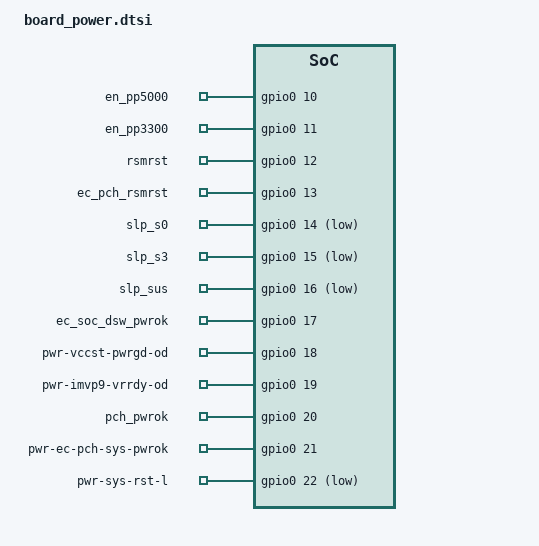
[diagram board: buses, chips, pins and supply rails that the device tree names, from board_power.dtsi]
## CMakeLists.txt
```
# Copyright 2022 The ChromiumOS Authors
# Use of this source code is governed by a BSD-style license that can be
# found in the LICENSE file.

cmake_minimum_required(VERSION 3.13.1)
find_package(Zephyr REQUIRED HINTS "${ZEPHYR_BASE}")
project(rex)

zephyr_include_directories("${PLATFORM_EC_PROGRAM_DIR}/rex/include")
zephyr_include_directories("${PLATFORM_EC_PROGRAM_DIR}/rex/rex/include")
zephyr_include_directories("${PLATFORM_EC_PROGRAM_DIR}/rex/screebo/include")

add_subdirectory(${PLATFORM_EC}/zephyr/test/test_utils test_utils)

target_sources_ifdef(CONFIG_TEST_USB_PD_POLICY app PRIVATE src/usb_pd_policy.c)
target_sources_ifdef(CONFIG_TEST_USB_PD_POLICY app PRIVATE ${PLATFORM_EC_PROGRAM_DIR}/rex/src/usb_pd_policy.c)

target_sources_ifdef(CONFIG_TEST_BOARD_POWER app PRIVATE src/board_power.c)
target_sources_ifdef(CONFIG_TEST_BOARD_POWER app PRIVATE ${PLATFORM_EC_PROGRAM_DIR}/rex/src/board_power.c)

target_sources_ifdef(CONFIG_TEST_BOARD_USB_MUX_CONFIG app PRIVATE src/usb_mux_config.c)
target_sources_ifdef(CONFIG_TEST_BOARD_USB_MUX_CONFIG app PRIVATE ${PLATFORM_EC_PROGRAM_DIR}/rex/rex/src/usb_mux_config.c)

target_sources_ifdef(CONFIG_TEST_SCREEBO_USB_CONFIG app PRIVATE src/screebo_usb_config.c)
#target_sources_ifdef(CONFIG_TEST_SCREEBO_USB_CONFIG app PRIVATE ${PLATFORM_EC_PROGRAM_DIR}/rex/screebo/src/usb_config.c)
```

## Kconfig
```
# Copyright 2022 The ChromiumOS Authors
# Use of this source code is governed by a BSD-style license that can be
# found in the LICENSE file.

choice TEST_PROJECT_TYPE
	prompt "Select board variant for tests"
	help
	  Board variant to use for tests

	config TEST_PROJECT_REX
		bool "Enable rex-specific tests"
		help
		Enable tests for rex variant.

	config TEST_PROJECT_SCREEBO
		bool "Enable screebo-specific tests"
		help
		Enable tests for screebo variant.

	config TEST_PROJECT_KANIX
		bool "Enable kanix-specific tests"
		help
		Enable tests for kanix variant.

	config TEST_PROJECT_KARIS
		bool "Enable karis-specific tests"
		help
		Enable tests for karis variant.

endchoice # TEST_PROJECT_TYPE

config TEST_PROJECT_NAME
	string "Board name"
	default "rex" if TEST_PROJECT_REX
	default "screebo" if TEST_PROJECT_SCREEBO

config TEST_PROJECT_USB_MUX_CONFIG
	bool "Run the tests intended for usb_mux_config"
	help
	  Include project specific usb_mux_config.c into the binary and
	  test their functions.

config TEST_PROJECT_USB_CONFIG
	bool "Run the tests intended for usb_config"
	help
	  Include project specific usb_config.c into the binary and test
	  their functions.

config TEST_PROJECT_KEYBOARD
	bool "Run the tests intended for keyboard.c"
	help
	  Include project specific keyboard.c into the binary and test
	  their functions.

config TEST_PROJECT_KEYBOARD_CUSTOMIZATION
	bool "Run the tests intended for keyboard_customization.c"
	help
	  Include project specific keyboard_customization.c into the
	  binary and test their functions.

config PLATFORM_EC_KEYBOARD_DEBUG
	  bool "Enable keyboard debug prints"
	  help
	    Enable keyboard debug prints to show up in early bringup, for example
	    if the board is currently headless and keyboard functionality is being
	    checked.

config TEST_PROJECT_BOARD
	bool "Run the tests intended for board.c"
	help
	  Include project specific board.c into the binary and test
	  their functions.

config TEST_PROJECT_CHARGER
	bool "Run the tests intended for charger.c"
	help
	  Include project specific charger.c into the binary and test
	  their functions.

config TEST_PROGRAM_USB_PD_POLICY
	bool "Run the tests intended for usb_pd_policy"
	help
	  Include usb_pd_policy.c into the binary and test their functions.

config TEST_PROGRAM_USBC_TBT_COMPAT
	bool "Run the tests intended for usbc_tbt_compat"
	help
	  Include usbc_tbt_compat.c into the binary and test its functions.

config TEST_ENABLE_USB_PD_DISCHARGE
	bool "Enable CONFIG_USB_PD_DISCHARGE"
	help
	  This is used to define CONFIG_USB_PD_DISCHARGE for testing purposes
	  directly.

config TEST_ENABLE_USB_PD_HOST_CMD
	bool "Enable CONFIG_USB_PD_HOST_CMD"
	help
	  This is used to define CONFIG_USB_PD_HOST_CMD for testing purposes
	  directly.

config TEST_DISABLE_INLINE_CHIPSET_IN_STATE
	bool "Disable chipset_in_state inline method"
	help
	  This is used to not define chipset_in_state method as inline
	  function.

config TEST_DISABLE_INLINE_CHIPSET_FUNCTIONS
	bool "Enable mocking of inline chipset functions"
	help
	  Many chipset functions are defined as static inline which
	  precludes mocking. This is achieved by converting static
	  inline function definitions in chipset.h to prototypes. Tests
	  will need to provide definitions for affected functions.

config TEST_PROGRAM_BATTERY_PRESENT
	bool "Tests battery presence detect"
	help
	  Include tests for board specific battery presence detection.
	  Really, that's all it does.

config TEST_PROGRAM_BOARD_POWER
	bool "Run the tests intended for board_power"
	help
	  Include board_power.c into the binary and test
	  their functions.

config TEST_X86_NON_DSX_PWRSEQ_MTL
	bool "Replace CONFIG_X86_NON_DSX_PWRSEQ_MTL for testing"
	help
	  This is used to replace CONFIG_X86_NON_DSX_PWRSEQ_MTL for testing
	  purposes directly.

config TEST_DISABLE_AP_PWRSEQ
	bool "Disable CONFIG_AP_PWRSEQ"
	default n
	help
	  This is used to disable CONFIG_AP_PWRSEQ for testing purposes
	  directly.

config TEST_PROGRAM_I2C_POLICY
	bool "Run the tests intended for i2c_policy"
	help
	  Include i2c_policy.c into the binary and test their functions.

config TEST_PROJECT_TOUCH_PANEL
	bool "Run the tests intended for touch_panel.c"
	help
	  Include touch_panel.c into the binary and test their functions.

config TEST_BOARD_FAN_CUSTOM
	bool "Run the tests intended for thermal.c"
	help
	  Include thermal.c into the binary and test their functions.

module = REX
module-str = Rex board-specific code
source "subsys/logging/Kconfig.template.log_config"

source "Kconfig.zephyr"
```

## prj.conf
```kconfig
# Copyright 2022 The ChromiumOS Authors
# Use of this source code is governed by a BSD-style license that can be
# found in the LICENSE file.

CONFIG_ZTEST=y
CONFIG_ZTEST_ASSERT_VERBOSE=1
CONFIG_ZTEST_NEW_API=y
CONFIG_ASSERT=y

# Match emul init priority
CONFIG_I2C_INIT_PRIORITY=1
CONFIG_GPIO_INIT_PRIORITY=1

CONFIG_CROS_EC=y
CONFIG_PLATFORM_EC=y

CONFIG_LOG=y
CONFIG_LOG_MODE_MINIMAL=y

CONFIG_AP_X86_INTEL_MTL=y
CONFIG_TEST_DISABLE_AP_PWRSEQ=y

CONFIG_EMUL_COMMON_I2C=y
```

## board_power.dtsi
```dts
/* Copyright 2022 The ChromiumOS Authors
 * Use of this source code is governed by a BSD-style license that can be
 * found in the LICENSE file.
 */

#include <dt-bindings/gpio_defines.h>
#include <cros/binman.dtsi>

/ {

named-gpios {
		compatible = "named-gpios";

		ec_bl_disable_l {
			gpios = <&gpio0 1 GPIO_INPUT>;
			enum-name = "GPIO_ENABLE_BACKLIGHT";
		};
		gpio_pch_pwrbtn_l: pch_pwrbtn_l {
			gpios = <&gpio0 2 GPIO_OUTPUT>;
			enum-name = "GPIO_PCH_PWRBTN_L";
		};
		gpio_ec_pwr_btn_odl: ec_pwr_btn_odl {
			/* GPIO_PULL_UP will cause this start asserted,
			 * i.e. not pressed.
			 */
			gpios = <&gpio0 1 (GPIO_INPUT | GPIO_PULL_UP)>;
			enum-name = "GPIO_POWER_BUTTON_L";
		};
		gpio_wp_l: wp_l {
			gpios = <&gpio0 3 (GPIO_INPUT | GPIO_ACTIVE_LOW)>;
		};
		entering-rw {
			gpios = <&gpio0 1 GPIO_OUTPUT_LOW>;
			enum-name = "GPIO_ENTERING_RW";
		};
	};
	en_pp5000: pwr-en-pp5000-s5 {
		compatible = "intel,ap-pwrseq-gpio";
		dbg-label = "PP5000_S5 enable output to regulator";
		enum-name = "PWR_EN_PP5000_A";
		gpios = <&gpio0 10 0>;
		output;
	};
	en_pp3300: pwr-en-pp3300-s5 {
		compatible = "intel,ap-pwrseq-gpio";
		dbg-label = "PP3300_S5 enable output to LS";
		enum-name = "PWR_EN_PP3300_A";
		gpios = <&gpio0 11 0>;
		output;
	};
	rsmrst: pwr-pg-ec-rsmrst-odl {
		compatible = "intel,ap-pwrseq-gpio";
		dbg-label = "RSMRST power good from regulator";
		enum-name = "PWR_RSMRST";
		gpios = <&gpio0 12 0>;
		interrupt-flags = <GPIO_INT_EDGE_BOTH>;
	};
	ec_pch_rsmrst: pwr-ec-pch-rsmrst-odl {
		compatible = "intel,ap-pwrseq-gpio";
		dbg-label = "RSMRST output to PCH";
		enum-name = "PWR_EC_PCH_RSMRST";
		gpios = <&gpio0 13 0>;
		output;
	};
	slp_s0: pwr-slp-s0-l {
		compatible = "intel,ap-pwrseq-gpio";
		dbg-label = "SLP_S0_L input from PCH";
		enum-name = "PWR_SLP_S0";
		gpios = <&gpio0 14 GPIO_ACTIVE_LOW>;
		interrupt-flags = <GPIO_INT_EDGE_BOTH>;
		no-enable;
	};
	slp_s3: pwr-slp-s3-l {
		compatible = "intel,ap-pwrseq-gpio";
		dbg-label = "SLP_S3_L input from PCH";
		enum-name = "PWR_SLP_S3";
		gpios = <&gpio0 15 GPIO_ACTIVE_LOW>;
		interrupt-flags = <GPIO_INT_EDGE_BOTH>;
	};
	slp_sus: pwr-slp-sus-l {
		compatible = "intel,ap-pwrseq-gpio";
		dbg-label = "SLP_SUS_L input from PCH";
		enum-name = "PWR_SLP_SUS";
		gpios = <&gpio0 16 GPIO_ACTIVE_LOW>;
		interrupt-flags = <GPIO_INT_EDGE_BOTH>;
	};
	ec_soc_dsw_pwrok: pwr-ec-soc-dsw-pwrok {
		compatible = "intel,ap-pwrseq-gpio";
		dbg-label = "DSW_PWROK output to PCH";
		enum-name = "PWR_EC_SOC_DSW_PWROK";
		gpios = <&gpio0 17 0>;
		output;
	};
	pwr-vccst-pwrgd-od {
		compatible = "intel,ap-pwrseq-gpio";
		dbg-label = "VCCST_PWRGD output to PCH";
		enum-name = "PWR_VCCST_PWRGD";
		gpios = <&gpio0 18 0>;
		output;
	};
	pwr-imvp9-vrrdy-od {
		compatible = "intel,ap-pwrseq-gpio";
		dbg-label = "VRRDY input from IMVP9";
		enum-name = "PWR_IMVP9_VRRDY";
		gpios = <&gpio0 19 0>;
	};
	pch_pwrok: pwr-pch-pwrok {
		compatible = "intel,ap-pwrseq-gpio";
		dbg-label = "PCH_PWROK output to PCH";
		enum-name = "PWR_PCH_PWROK";
		gpios = <&gpio0 20 0>;
		output;
	};
	pwr-ec-pch-sys-pwrok {
		compatible = "intel,ap-pwrseq-gpio";
		dbg-label = "SYS_PWROK output to PCH";
		enum-name = "PWR_EC_PCH_SYS_PWROK";
		gpios = <&gpio0 21 0>;
		output;
	};
	pwr-sys-rst-l {
		compatible = "intel,ap-pwrseq-gpio";
		dbg-label = "SYS_RESET# output to PCH";
		enum-name = "PWR_SYS_RST";
		gpios = <&gpio0 22 GPIO_ACTIVE_LOW>;
		output;
	};

};
```

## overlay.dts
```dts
/* Copyright 2021 The Chromium OS Authors. All rights reserved.
 * Use of this source code is governed by a BSD-style license that can be
 * found in the LICENSE file.
 */

#include <dt-bindings/gpio_defines.h>

/  {
	common-pwrseq {
		compatible = "intel,ap-pwrseq";
	};
};

/ {
	named-gpios {
		compatible = "named-gpios";

		entering-rw {
			gpios = <&gpio0 1 GPIO_OUTPUT_LOW>;
			enum-name = "GPIO_ENTERING_RW";
		};
	};
};
```

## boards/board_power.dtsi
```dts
/* Copyright 2022 The ChromiumOS Authors
 * Use of this source code is governed by a BSD-style license that can be
 * found in the LICENSE file.
 */

#include <dt-bindings/gpio_defines.h>

/ {
	common-pwrseq {
		compatible = "intel,ap-pwrseq";
	};
	named-gpios {
		compatible = "named-gpios";
		ec_bl_disable_l {
			gpios = <&gpio0 1 GPIO_INPUT>;
			enum-name = "GPIO_ENABLE_BACKLIGHT";
		};
		gpio_pch_pwrbtn_l: pch_pwrbtn_l {
			gpios = <&gpio0 2 GPIO_OUTPUT>;
			enum-name = "GPIO_PCH_PWRBTN_L";
		};
		gpio_ec_pwr_btn_odl: ec_pwr_btn_odl {
			/* GPIO_PULL_UP will cause this start asserted,
			 * i.e. not pressed.
			 */
			gpios = <&gpio0 3 (GPIO_INPUT | GPIO_PULL_UP)>;
			enum-name = "GPIO_POWER_BUTTON_L";
		};
		gpio_wp_l: wp_l {
			gpios = <&gpio0 4 (GPIO_INPUT | GPIO_ACTIVE_LOW)>;
		};
		entering-rw {
			gpios = <&gpio0 5 GPIO_OUTPUT_LOW>;
			enum-name = "GPIO_ENTERING_RW";
		};
	};
	en_pp5000: pwr-en-pp5000-s5 {
		compatible = "intel,ap-pwrseq-gpio";
		dbg-label = "PP5000_S5 enable output to regulator";
		enum-name = "PWR_EN_PP5000_A";
		gpios = <&gpio0 10 0>;
		output;
	};
	en_pp3300: pwr-en-pp3300-s5 {
		compatible = "intel,ap-pwrseq-gpio";
		dbg-label = "PP3300_S5 enable output to LS";
		enum-name = "PWR_EN_PP3300_A";
		gpios = <&gpio0 11 0>;
		output;
	};
	rsmrst: pwr-pg-ec-rsmrst-odl {
		compatible = "intel,ap-pwrseq-gpio";
		dbg-label = "RSMRST power good from regulator";
		enum-name = "PWR_RSMRST_PWRGD";
		gpios = <&gpio0 12 0>;
		interrupt-flags = <GPIO_INT_EDGE_BOTH>;
	};
	ec_pch_rsmrst: pwr-ec-pch-rsmrst-odl {
		compatible = "intel,ap-pwrseq-gpio";
		dbg-label = "RSMRST output to PCH";
		enum-name = "PWR_EC_PCH_RSMRST";
		gpios = <&gpio0 13 GPIO_ACTIVE_LOW>;
		output;
	};
	slp_s0: pwr-slp-s0-l {
		compatible = "intel,ap-pwrseq-gpio";
		dbg-label = "SLP_S0_L input from PCH";
		enum-name = "PWR_SLP_S0";
		gpios = <&gpio0 14 GPIO_ACTIVE_LOW>;
		interrupt-flags = <GPIO_INT_EDGE_BOTH>;
		no-enable;
	};
	slp_s3: pwr-slp-s3-l {
		compatible = "intel,ap-pwrseq-gpio";
		dbg-label = "SLP_S3_L input from PCH";
		enum-name = "PWR_SLP_S3";
		gpios = <&gpio0 15 GPIO_ACTIVE_LOW>;
		interrupt-flags = <GPIO_INT_EDGE_BOTH>;
	};
	slp_sus: pwr-slp-sus-l {
		compatible = "intel,ap-pwrseq-gpio";
		dbg-label = "SLP_SUS_L input from PCH";
		enum-name = "PWR_SLP_SUS";
		gpios = <&gpio0 16 GPIO_ACTIVE_LOW>;
		interrupt-flags = <GPIO_INT_EDGE_BOTH>;
	};
	pwr-vccst-pwrgd-od {
		compatible = "intel,ap-pwrseq-gpio";
		dbg-label = "VCCST_PWRGD output to PCH";
		enum-name = "PWR_VCCST_PWRGD";
		gpios = <&gpio0 18 0>;
		output;
	};
	pwr-imvp9-vrrdy-od {
		compatible = "intel,ap-pwrseq-gpio";
		dbg-label = "VRRDY input from IMVP9";
		enum-name = "PWR_IMVP9_VRRDY";
		gpios = <&gpio0 19 0>;
	};
	pch_pwrok: pwr-pch-pwrok {
		compatible = "intel,ap-pwrseq-gpio";
		dbg-label = "PCH_PWROK output to PCH";
		enum-name = "PWR_PCH_PWROK";
		gpios = <&gpio0 20 0>;
		output;
	};
	pwr-ec-pch-sys-pwrok {
		compatible = "intel,ap-pwrseq-gpio";
		dbg-label = "SYS_PWROK output to PCH";
		enum-name = "PWR_EC_PCH_SYS_PWROK";
		gpios = <&gpio0 21 0>;
		output;
	};
	pwr-sys-rst-l {
		compatible = "intel,ap-pwrseq-gpio";
		dbg-label = "SYS_RESET# output to PCH";
		enum-name = "PWR_SYS_RST";
		gpios = <&gpio0 22 GPIO_ACTIVE_LOW>;
		output;
	};
	pwr-all-sys-pwrgd {
		compatible = "intel,ap-pwrseq-gpio";
		dbg-label = "all power good";
		enum-name = "PWR_ALL_SYS_PWRGD";
		gpios = <&gpio0 23 (GPIO_ACTIVE_HIGH | GPIO_PULL_UP)>;
		interrupt-flags = <GPIO_INT_EDGE_BOTH>;
	};
};
```

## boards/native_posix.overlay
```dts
/* Copyright 2022 The ChromiumOS Authors
 * Use of this source code is governed by a BSD-style license that can be
 * found in the LICENSE file.
 */

#include <board-overlays/native_posix.dts>
#include <dt-bindings/gpio_defines.h>

/ {
	/* GPIOs shared by all boards */
	named-gpios {
		compatible = "named-gpios";

		gpio_usb_c1_rst_odl: usb_c1_rst_odl {
			gpios = <&gpio0 1 GPIO_ODR_LOW>;
		};
		gpio_usb_c1_rt_int_odl: usb_c1_rt_int_odl {
			gpios = <&gpio0 2 GPIO_INPUT_PULL_UP>;
		};
		gpio_usb_c1_rt_rst_r_odl: usb_c1_rt_rst_r_odl {
			gpios = <&gpio0 3 GPIO_ODR_HIGH>;
		};
		gpio_usb_c1_frs_en: usb_c1_frs_en {
			gpios = <&gpio0 4 GPIO_ODR_HIGH>;
		};
		gpio_en_z1_rails: en_z1_rails {
			gpios = <&gpio0 5 GPIO_OUTPUT>;
		};
		gpio_ec_batt_pres_odl: ec_batt_pres_odl {
			gpios = <&gpio0 6 GPIO_INPUT>;
			enum-name = "GPIO_BATT_PRES_ODL";
		};
	};

	/*
	 * This is a 2nd GPIO bank to be used by variants to
	 * avoid conflicts with program GPIO assignments.
	 */
	gpio1: gpio@101 {
		status = "okay";
		compatible = "zephyr,gpio-emul";
		reg = <0x101 0x4>;
		rising-edge;
		falling-edge;
		high-level;
		low-level;
		gpio-controller;
		#gpio-cells = <2>;
		ngpios = <32>;
	};
};
```

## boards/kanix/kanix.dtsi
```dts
/* Copyright 2024 The ChromiumOS Authors
 * Use of this source code is governed by a BSD-style license that can be
 * found in the LICENSE file.
 */

#include "../native_sim.overlay"
#include "../../../../program/rex/kanix/cbi.dtsi"

#include <board-overlays/native_sim.dts>
#include <cros/binman.dtsi>
#include <cros/thermistor/thermistor.dtsi>
#include <dt-bindings/gpio_defines.h>
#include <dt-bindings/pwm/pwm.h>
#include <dt-bindings/wake_mask_event_defines.h>
#include <freq.h>


/ {
	aliases {
		gpio-wp = &gpio_ec_wp_l;
	};

	named-gpios {
		gpio_ec_wp_l: ec_wp_l {
			gpios = <&gpio1 13 GPIO_OUTPUT>;
		};
	};

	fan_steps: fan-step {
		compatible = "cros-ec,fan-steps";
		level_0 {
			temp-on = <25>;
			temp-off = <99>;
			rpm-target = <0>;
		};
		level_1 {
			temp-on = <40>;
			temp-off = <35>;
			rpm-target = <2700>;
		};
		level_2 {
			temp-on = <43>;
			temp-off = <39>;
			rpm-target = <2925>;
		};
		level_3 {
			temp-on = <46>;
			temp-off = <42>;
			rpm-target = <3300>;
		};
		level_4 {
			temp-on = <49>;
			temp-off = <45>;
			rpm-target = <3585>;
		};
		level_5 {
			temp-on = <52>;
			temp-off = <48>;
			rpm-target = <3900>;
		};
		level_6 {
			temp-on = <55>;
			temp-off = <51>;
			rpm-target = <4255>;
		};
		level_7 {
			temp-on = <65>;
			temp-off = <60>;
			rpm-target = <4775>;
		};
	};

	chosen {
		cros-ec,keyboard = &fake_keyboard;
	};

	fake_keyboard: fake-device {
		compatible = "gpio-kbd-matrix";
		row-gpios = <&gpio0 0 0>;
		col-gpios = <&gpio0 0 0>;
		debounce-down-ms = <100>;

		scancode-set2 {
			compatible = "cros-ec,scancode-set2";
			col0-codes  = <0x0000 0x0000 0x0000 0xe01f 0x0000 0x0000 0x0000 0x0000>;
			col1-codes  = <0x0078 0x0076 0x000d 0x000e 0x001c 0x0016 0x001a 0x003c>;
			col2-codes  = <0x0005 0x000c 0x0004 0x0006 0x0023 0x0041 0x0026 0x0043>;
			col3-codes  = <0x0032 0x0034 0x002c 0x002e 0x002b 0x0049 0x0025 0x0044>;
			col4-codes  = <0x0009 0x0083 0x000b 0x001b 0x0003 0x004a 0x001e 0x004d>;
			col5-codes  = <0x0031 0x0007 0x005b 0x000f 0x0042 0x0021 0x003e 0x0015>;
			col6-codes  = <0x0051 0x0033 0x0035 0x004e 0x003b 0x0029 0x0045 0x001d>;
			col7-codes  = <0x0000 0x0000 0x0000 0x0000 0x0000 0x0012 0x0000 0x0059>;
			col8-codes  = <0x0055 0x0052 0x0054 0x0036 0x004c 0x0022 0x003d 0x0024>;
			col9-codes  = <0xe06c 0x0001 0xe071 0x002f 0x004b 0x002a 0x0046 0x002d>;
			col10-codes = <0xe011 0x0000 0x0000 0x0000 0x0000 0x0000 0x0000 0x0000>;
			col11-codes = <0x0017 0x0066 0x000a 0x005d 0x005a 0x003a 0xe072 0xe075>;
			col12-codes = <0x001f 0x0064 0xe07d 0x0067 0xe069 0xe07a 0xe074 0xe06b>;
			col13-codes = <0x0000 0x0000 0x0000 0x0000 0x0000 0x0000 0x0011 0x0000>;
			col14-codes = <0x0000 0x0014 0x0000 0xe014 0x0000 0x0000 0x0000 0x0000>;
			col15-codes = <0x0000 0x0000 0x0000 0x0000 0x0000 0x0000 0x0027 0x0000>;
			col16-codes = <0x0037 0x0000 0x0000 0x0000 0x0000 0x0000 0x0000 0x0000>;
			col17-codes = <0x0000 0x0000 0x006a 0x0000 0x0000 0x0000 0x005d 0x0061>;
		};
	};
};
```

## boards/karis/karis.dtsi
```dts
/* Copyright 2023 The ChromiumOS Authors
 * Use of this source code is governed by a BSD-style license that can be
 * found in the LICENSE file.
 */

#include "../native_posix.overlay"
#include "../../../../program/rex/karis/cbi.dtsi"

#include <dt-bindings/gpio_defines.h>

/ {
	/* Unused Stub */
	named-i2c-ports {
		compatible = "named-i2c-ports";

		named_i2c0: i2c0 {
			i2c-port = <&i2c0>;
			enum-names = "I2C_PORT_USB_MUX";
		};
	};

	usbc {
		#address-cells = <1>;
		#size-cells = <0>;

		usbc_port0: port0@0 {
			compatible = "named-usbc-port";
			reg = <0>;
		};
		usbc_port1: port1@1 {
			compatible = "named-usbc-port";
			reg = <1>;
		};
	};

	aliases {
		hbr-usb-c1-rt-pwr-en = &gpio_usb_c1_rst_odl;

		hbr-usb-c1-rt-int-odl = &gpio_usb_c1_rt_int_odl;

		hbr-usb-c1-rt-rst-odl = &gpio_usb_c1_rt_rst_r_odl;

		syv-usb-c1-frs-en = &gpio_usb_c1_frs_en;
	};

};
```

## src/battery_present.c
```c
/* Copyright 2023 The ChromiumOS Authors
 * Use of this source code is governed by a BSD-style license that can be
 * found in the LICENSE file.
 */

#include "battery.h"
#include "battery_fuel_gauge.h"
#include "emul/emul_common_i2c.h"
#include "emul/emul_smart_battery.h"
//#include "test/drivers/test_state.h"
//#include "test/drivers/utils.h"

#include <zephyr/drivers/emul.h>
#include <zephyr/drivers/gpio.h>
#include <zephyr/drivers/gpio/gpio_emul.h>
#include <zephyr/fff.h>
#include <zephyr/kernel.h>
#include <zephyr/ztest.h>

#define GPIO_BATT_PRES_ODL_PATH NAMED_GPIOS_GPIO_NODE(ec_batt_pres_odl)
#define GPIO_BATT_PRES_ODL_PORT DT_GPIO_PIN(GPIO_BATT_PRES_ODL_PATH, gpios)

FAKE_VALUE_FUNC(int, ppc_vbus_sink_enable, int, int);
FAKE_VALUE_FUNC(int, ppc_vbus_source_enable, int, int);
FAKE_VALUE_FUNC(int, board_set_active_charge_port, int);

struct battery_fixture {
	i2c_common_emul_finish_write_func finish_write_func;
	i2c_common_emul_start_read_func start_read_func;
};

static void *battery_setup(void)
{
	static struct battery_fixture fixture;

	return &fixture;
}

static void battery_after(void *data)
{
	const struct device *dev =
		DEVICE_DT_GET(DT_GPIO_CTLR(GPIO_BATT_PRES_ODL_PATH, gpios));

	/* Set default state (battery is present) */
	gpio_emul_input_set(dev, GPIO_BATT_PRES_ODL_PORT, 0);

}

ZTEST_SUITE(rex_battery, NULL, battery_setup,
	    NULL, battery_after, NULL);

ZTEST_USER(rex_battery, test_battery_hw_present)
{
	const struct device *dev =
		DEVICE_DT_GET(DT_GPIO_CTLR(GPIO_BATT_PRES_ODL_PATH, gpios));

	zassert_not_null(dev, NULL);
	/* ec_batt_pres_odl = 0 means battery present. */
	zassert_ok(gpio_emul_input_set(dev, GPIO_BATT_PRES_ODL_PORT, 0));
	zassert_equal(BP_YES, battery_hw_present());
	/* ec_batt_pres_odl = 1 means battery missing. */
	zassert_ok(gpio_emul_input_set(dev, GPIO_BATT_PRES_ODL_PORT, 1));
	zassert_equal(BP_NO, battery_hw_present());
}
```

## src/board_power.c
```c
/* Copyright 2023 The ChromiumOS Authors
 * Use of this source code is governed by a BSD-style license that can be
 * found in the LICENSE file.
 */

#include "gpio/gpio.h"
#include "gpio_signal.h"
#include "timer.h"

#include <zephyr/drivers/gpio.h>
#include <zephyr/fff.h>
#include <zephyr/ztest.h>

#include <ap_power/ap_power.h>
#include <ap_power/ap_power_events.h>
#include <ap_power/ap_power_interface.h>
#include <ap_power_override_functions.h>
#include <mock/ap_power_events.h>
/* clang-format off */
#include <power_signals.h>
#include <mock/power_signals.h>
/* clang-format on */
#include <x86_power_signals.h>

#define X86_NON_DSX_MTL_FORCE_SHUTDOWN_TO_MS 50

DEFINE_FAKE_VALUE_FUNC(int, power_signal_set, enum power_signal, int);
DEFINE_FAKE_VALUE_FUNC(int, power_signal_get, enum power_signal);
DEFINE_FAKE_VALUE_FUNC(int, power_wait_mask_signals_timeout,
		       power_signal_mask_t, power_signal_mask_t, int);
DEFINE_FAKE_VOID_FUNC(ap_power_ev_send_callbacks, enum ap_power_events);

int mock_power_signal_set_ap_force_shutdown(enum power_signal signal, int value)
{
	if (power_signal_set_fake.call_count == 1) {
		zassert_true(signal == PWR_EC_PCH_RSMRST && value == 0,
			     "First call signal: %d, value: %d", signal, value);
		return 0;
	} else if (power_signal_set_fake.call_count == 2) {
		zassert_true(signal == PWR_EN_PP3300_A && value == 0,
			     "Second call signal: %d, value: %d", signal,
			     value);
		return 0;
	}

	zassert_unreachable("Wrong input received");
	return -1;
}

int mock_power_signal_set_ap_power_action_g3_s5(enum power_signal signal,
						int value)
{
	if ((signal == PWR_EN_PP3300_A) && (value == 1)) {
		return 0;
	}

	zassert_unreachable("Wrong input received");
	return -1;
}

int mock_power_signal_get_ap_force_shutdown_retries(enum power_signal signal)
{
	if (signal == PWR_RSMRST) {
		return 1;
	}
	zassert_unreachable("Wrong input received");
	return -1;
}

int mock_power_signal_get_ap_force_shutdown(enum power_signal signal)
{
	if (signal == PWR_RSMRST) {
		if (power_signal_get_fake.call_count <= 5) {
			return 1;
		}
		return 0;
	}
	zassert_unreachable("Wrong input received");
	return -1;
}

int mock_power_signal_get_check_power_rails_enabled_0(enum power_signal signal)
{
	if (signal == PWR_EN_PP3300_A) {
		return 0;
	}
	zassert_unreachable("Wrong input received");
	return -1;
}

int mock_power_signal_get_check_power_rails_enabled_1(enum power_signal signal)
{
	if (signal == PWR_EN_PP3300_A) {
		return 1;
	}
	zassert_unreachable("Wrong input received");
	return -1;
}

int mock_power_wait_mask_signals_timeout_0(power_signal_mask_t want,
					   power_signal_mask_t mask,
					   int timeout)
{
	zassert_equal(want, IN_PGOOD_ALL_CORE);
	zassert_equal(mask, IN_PGOOD_ALL_CORE);
	zassert_equal(timeout, AP_PWRSEQ_DT_VALUE(wait_signal_timeout));
	return 0;
}

int mock_power_wait_mask_signals_timeout_1(power_signal_mask_t want,
					   power_signal_mask_t mask,
					   int timeout)
{
	zassert_equal(want, IN_PGOOD_ALL_CORE);
	zassert_equal(mask, IN_PGOOD_ALL_CORE);
	zassert_equal(timeout, AP_PWRSEQ_DT_VALUE(wait_signal_timeout));
	return 1;
}

void mock_ap_power_ev_send_callbacks(enum ap_power_events event)
{
	zassert_equal(event, AP_POWER_PRE_INIT);
}

static void board_power_before(void *fixture)
{
	ARG_UNUSED(fixture);
	RESET_FAKE(power_signal_set);
	RESET_FAKE(power_signal_get);
	RESET_FAKE(power_wait_mask_signals_timeout);
	RESET_FAKE(ap_power_ev_send_callbacks);
}

ZTEST_USER(board_power, test_board_ap_power_force_shutdown)
{
	power_signal_set_fake.custom_fake =
		mock_power_signal_set_ap_force_shutdown;
	power_signal_get_fake.custom_fake =
		mock_power_signal_get_ap_force_shutdown;
	board_ap_power_force_shutdown();

	zassert_equal(2, power_signal_set_fake.call_count);
	zassert_equal(7, power_signal_get_fake.call_count);
}

ZTEST_USER(board_power, test_board_ap_power_force_shutdown_timeout)
{
	power_signal_set_fake.custom_fake =
		mock_power_signal_set_ap_force_shutdown;
	power_signal_get_fake.custom_fake =
		mock_power_signal_get_ap_force_shutdown_retries;

	const uint32_t start_ms = k_uptime_get();

	board_ap_power_force_shutdown();

	const uint32_t end_ms = k_uptime_get();

	zassert_equal(power_signal_set_fake.call_count, 2);
	zassert_true((end_ms - start_ms) >=
		     X86_NON_DSX_MTL_FORCE_SHUTDOWN_TO_MS);
	zassert_true(power_signal_get_fake.call_count > 2);
}

ZTEST_USER(board_power, test_board_ap_power_check_power_rails_enabled_0)
{
	power_signal_get_fake.custom_fake =
		mock_power_signal_get_check_power_rails_enabled_0;

	zassert_equal(0, board_ap_power_check_power_rails_enabled());
	zassert_equal(1, power_signal_get_fake.call_count);
}

ZTEST_USER(board_power, test_board_ap_power_check_power_rails_enabled_1)
{
	power_signal_get_fake.custom_fake =
		mock_power_signal_get_check_power_rails_enabled_1;

	zassert_equal(1, board_ap_power_check_power_rails_enabled());
	zassert_equal(1, power_signal_get_fake.call_count);
}

ZTEST_USER(board_power, test_board_ap_power_action_g3_s5_0)
{
	power_signal_set_fake.custom_fake =
		mock_power_signal_set_ap_power_action_g3_s5;
	power_wait_mask_signals_timeout_fake.custom_fake =
		mock_power_wait_mask_signals_timeout_0;
	ap_power_ev_send_callbacks_fake.custom_fake =
		mock_ap_power_ev_send_callbacks;

	board_ap_power_action_g3_s5();

	zassert_equal(1, power_signal_set_fake.call_count);
	zassert_equal(1, power_wait_mask_signals_timeout_fake.call_count);
	zassert_equal(1, ap_power_ev_send_callbacks_fake.call_count);
}

ZTEST_USER(board_power, test_board_ap_power_action_g3_s5_1)
{
	power_signal_set_fake.custom_fake =
		mock_power_signal_set_ap_power_action_g3_s5;
	power_wait_mask_signals_timeout_fake.custom_fake =
		mock_power_wait_mask_signals_timeout_1;
	ap_power_ev_send_callbacks_fake.custom_fake =
		mock_ap_power_ev_send_callbacks;

	board_ap_power_action_g3_s5();

	zassert_equal(1, power_signal_set_fake.call_count);
	zassert_equal(1, power_wait_mask_signals_timeout_fake.call_count);
	zassert_equal(0, ap_power_ev_send_callbacks_fake.call_count);
}

ZTEST_SUITE(board_power, NULL, NULL, board_power_before, NULL, NULL);
```

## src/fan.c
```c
/* Copyright 2022 The ChromiumOS Authors
 * Use of this source code is governed by a BSD-style license that can be
 * found in the LICENSE file.
 */

#include "cros_cbi.h"
#include "fan.h"
#include "hooks.h"

#include <zephyr/fff.h>
#include <zephyr/ztest.h>

DECLARE_FAKE_VALUE_FUNC(int, cros_cbi_get_fw_config,
			enum cbi_fw_config_field_id, uint32_t *);
DEFINE_FAKE_VALUE_FUNC(int, cros_cbi_get_fw_config, enum cbi_fw_config_field_id,
		       uint32_t *);
DECLARE_FAKE_VOID_FUNC(fan_set_count, int);
DEFINE_FAKE_VOID_FUNC(fan_set_count, int);

int cros_cbi_get_fw_config_mock(enum cbi_fw_config_field_id field_id,
				uint32_t *value)
{
	*value = FW_FAN_PRESENT;
	return 0;
}

int cros_cbi_get_fw_config_mock_no_fan(enum cbi_fw_config_field_id field_id,
				       uint32_t *value)
{
	*value = FW_FAN_NOT_PRESENT;
	return 0;
}

int cros_cbi_get_fw_config_mock_error(enum cbi_fw_config_field_id field_id,
				      uint32_t *value)
{
	return -1;
}

void fan_set_count_mock(int count)
{
	zassert_equal(0, count);
}

void gpio_pin_config_reset(const struct gpio_dt_spec *spec, int flags)
{
	gpio_pin_configure(spec->port, spec->pin, flags);
}

static void fan_before(void *fixture)
{
	ARG_UNUSED(fixture);
	gpio_pin_config_reset(GPIO_DT_FROM_NODELABEL(gpio_en_pp5000_fan), 0);
	RESET_FAKE(cros_cbi_get_fw_config);
	RESET_FAKE(fan_set_count);
}

ZTEST_USER(fan, test_fan_init)
{
	cros_cbi_get_fw_config_fake.custom_fake = cros_cbi_get_fw_config_mock;
	fan_set_count_fake.custom_fake = fan_set_count_mock;
	const struct gpio_dt_spec *spec =
		GPIO_DT_FROM_NODELABEL(gpio_en_pp5000_fan);
	gpio_flags_t flags;

	gpio_pin_get_config_dt(spec, &flags);
	zassert_equal(0, flags);

	hook_notify(HOOK_INIT);

	gpio_pin_get_config_dt(spec, &flags);
	zassert_equal(GPIO_OUTPUT_LOW, flags);

	zassert_equal(1, cros_cbi_get_fw_config_fake.call_count);
	zassert_equal(0, fan_set_count_fake.call_count);
}

ZTEST_USER(fan, test_fan_init_no_fan)
{
	cros_cbi_get_fw_config_fake.custom_fake =
		cros_cbi_get_fw_config_mock_no_fan;
	fan_set_count_fake.custom_fake = fan_set_count_mock;
	const struct gpio_dt_spec *spec =
		GPIO_DT_FROM_NODELABEL(gpio_en_pp5000_fan);
	gpio_flags_t flags;

	gpio_pin_get_config_dt(spec, &flags);
	zassert_equal(0, flags);

	hook_notify(HOOK_INIT);

	gpio_pin_get_config_dt(spec, &flags);
	zassert_equal(0, flags);

	zassert_equal(1, cros_cbi_get_fw_config_fake.call_count);
	zassert_equal(1, fan_set_count_fake.call_count);
}

ZTEST_USER(fan, test_fan_init_error_reading_cbi)
{
	cros_cbi_get_fw_config_fake.custom_fake =
		cros_cbi_get_fw_config_mock_error;
	fan_set_count_fake.custom_fake = fan_set_count_mock;
	const struct gpio_dt_spec *spec =
		GPIO_DT_FROM_NODELABEL(gpio_en_pp5000_fan);
	gpio_flags_t flags;

	gpio_pin_get_config_dt(spec, &flags);
	zassert_equal(0, flags);

	hook_notify(HOOK_INIT);

	gpio_pin_get_config_dt(spec, &flags);
	zassert_equal(0, flags);

	zassert_equal(1, cros_cbi_get_fw_config_fake.call_count);
	zassert_equal(0, fan_set_count_fake.call_count);
}

ZTEST_SUITE(fan, NULL, NULL, fan_before, NULL, NULL);
```

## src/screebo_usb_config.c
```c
/* Copyright 2023 The ChromiumOS Authors
 * Use of this source code is governed by a BSD-style license that can be
 * found in the LICENSE file.
 */

#include "battery.h"
#include "cros_cbi.h"
#include "driver/retimer/bb_retimer_public.h"
#include "gpio/gpio_int.h"
#include "hooks.h"
#include "ppc/syv682x_public.h"
#include "usb_config.h"
#include "usb_mux.h"
#include "usbc/ppc.h"
#include "usbc/tcpci.h"
#include "usbc/usb_muxes.h"
#include "usbc_config.h"

#include <zephyr/devicetree.h>
#include <zephyr/fff.h>
#include <zephyr/ztest.h>

FAKE_VALUE_FUNC(int, cros_cbi_get_fw_config, enum cbi_fw_config_field_id,
		uint32_t *);
FAKE_VOID_FUNC(reset_nct38xx_port, int);
FAKE_VOID_FUNC(nx20p348x_interrupt, enum gpio_signal);
FAKE_VOID_FUNC(bc12_interrupt, enum gpio_signal);
FAKE_VOID_FUNC(syv682x_interrupt, enum gpio_signal);
FAKE_VALUE_FUNC(int, board_set_active_charge_port, int);
FAKE_VOID_FUNC(pd_power_supply_reset, int);
FAKE_VALUE_FUNC(int, pd_check_vconn_swap, int);
FAKE_VALUE_FUNC(int, pd_set_power_supply_ready, int);
FAKE_VALUE_FUNC(int, cbi_get_board_version, uint32_t *);

static int board_version;
static struct bb_usb_control bb_controls_saved[2];

static int mock_cbi_get_board_version(uint32_t *ver)
{
	*ver = board_version;
	return 0;
}

static int mock_cbi_get_board_version_error(uint32_t *ver)
{
	return -1;
}

int mock_cros_cbi_get_fw_config_db_usb3(enum cbi_fw_config_field_id field_id,
					uint32_t *value)
{
	*value = FW_USB_DB_USB3;
	return 0;
}

int mock_cros_cbi_get_fw_config_mb_usb3(enum cbi_fw_config_field_id field_id,
					uint32_t *value)
{
	*value = FW_USB_MB_USB3;
	return 0;
}

int mock_cros_cbi_get_fw_config_mb_usb4(enum cbi_fw_config_field_id field_id,
					uint32_t *value)
{
	*value = FW_USB_MB_USB4_HB;
	return 0;
}

int mock_cros_cbi_get_fw_config_error(enum cbi_fw_config_field_id field_id,
				      uint32_t *value)
{
	return -1;
}

static void usb_config_before(void *fixture)
{
	ARG_UNUSED(fixture);

	RESET_FAKE(cros_cbi_get_fw_config);
	RESET_FAKE(cbi_get_board_version);
	RESET_FAKE(reset_nct38xx_port);
	RESET_FAKE(nx20p348x_interrupt);
	RESET_FAKE(syv682x_interrupt);
	ppc_chips[1].drv = &syv682x_drv;

	memcpy(bb_controls_saved, bb_controls,
	       sizeof(struct bb_usb_control) * ARRAY_SIZE(bb_controls_saved));
}

static void usb_config_after(void *fixture)
{
	ARG_UNUSED(fixture);

	memcpy(bb_controls, bb_controls_saved,
	       sizeof(struct bb_usb_control) * ARRAY_SIZE(bb_controls_saved));
}

ZTEST_USER(usb_config, test_setup_db_usb3)
{
	cros_cbi_get_fw_config_fake.custom_fake =
		mock_cros_cbi_get_fw_config_db_usb3;
	hook_notify(HOOK_INIT);

	zassert_equal(2, cros_cbi_get_fw_config_fake.call_count);
	zassert_equal(FW_USB_DB_USB3, usb_db_type);
	zassert_mem_equal(&tcpc_config[1],
			  &TCPC_ALT_FROM_NODELABEL(tcpc_ps8815_port1),
			  sizeof(struct tcpc_config_t));
	zassert_mem_equal(&ppc_chips[1],
			  &PPC_ALT_FROM_NODELABEL(ppc_nx20p_port1),
			  sizeof(struct ppc_config_t));
	zassert_equal(usb_muxes[1].mux->driver, &tcpci_tcpm_usb_mux_driver);
}

ZTEST_USER(usb_config, test_setup_mb_usb3)
{
	cros_cbi_get_fw_config_fake.custom_fake =
		mock_cros_cbi_get_fw_config_mb_usb3;
	hook_notify(HOOK_INIT);

	zassert_equal(2, cros_cbi_get_fw_config_fake.call_count);
	zassert_equal(FW_USB_MB_USB3, usb_mb_type);
	zassert_false(board_is_tbt_usb4_port(USBC_PORT_C0), NULL);
	zassert_false(board_is_tbt_usb4_port(USBC_PORT_C1), NULL);
	zassert_equal(2, board_get_usb_pd_port_count());
	zassert_equal(usb_muxes[0].mux->driver, &virtual_usb_mux_driver);
}

ZTEST_USER(usb_config, test_setup_mb_usb4)
{
	cros_cbi_get_fw_config_fake.custom_fake =
		mock_cros_cbi_get_fw_config_mb_usb4;
	hook_notify(HOOK_INIT);

	zassert_equal(2, cros_cbi_get_fw_config_fake.call_count);
	zassert_equal(FW_USB_MB_USB4_HB, usb_mb_type);
	zassert_true(board_is_tbt_usb4_port(USBC_PORT_C0), NULL);
	zassert_true(board_is_tbt_usb4_port(USBC_PORT_C1), NULL);
	zassert_equal(2, board_get_usb_pd_port_count());
}

ZTEST_USER(usb_config, test_setup_usb_db_error_reading_cbi)
{
	cros_cbi_get_fw_config_fake.custom_fake =
		mock_cros_cbi_get_fw_config_error;
	hook_notify(HOOK_INIT);

	zassert_equal(2, cros_cbi_get_fw_config_fake.call_count);
	zassert_equal(FW_USB_DB_NOT_CONNECTED, usb_db_type);
	zassert_equal(FW_USB_MB_UNKNOWN, usb_mb_type);
	zassert_equal(1, board_get_usb_pd_port_count());
}

ZTEST_USER(usb_config, test_ppc_interrupt)
{
	/* Test TBT SKU ppc interrupt */
	cros_cbi_get_fw_config_fake.custom_fake =
		mock_cros_cbi_get_fw_config_mb_usb4;
	hook_notify(HOOK_INIT);

	ppc_chips[0].drv->interrupt(0);
	zassert_equal(1, syv682x_interrupt_fake.call_count);
	ppc_chips[1].drv->interrupt(1);
	zassert_equal(2, syv682x_interrupt_fake.call_count);

	/* Test USB3.2 SKU ppc interrupt */
	cros_cbi_get_fw_config_fake.custom_fake =
		mock_cros_cbi_get_fw_config_mb_usb3;
	hook_notify(HOOK_INIT);

	ppc_chips[1].drv->interrupt(1);
	zassert_equal(1, nx20p348x_interrupt_fake.call_count);
}

ZTEST_USER(usb_config, test_board_reset_pd_mcu)
{
	/* Default TBT SKU */
	board_reset_pd_mcu();
	zassert_equal(2, reset_nct38xx_port_fake.call_count);

	/* USB3.2 SKU */
	cros_cbi_get_fw_config_fake.custom_fake =
		mock_cros_cbi_get_fw_config_mb_usb3;
	hook_notify(HOOK_INIT);

	RESET_FAKE(reset_nct38xx_port);
	board_reset_pd_mcu();
	zassert_equal(1, reset_nct38xx_port_fake.call_count);
}

ZTEST_USER(usb_config, test_hbr_rst_runtime_config_cbi_error)
{
	cbi_get_board_version_fake.custom_fake =
		mock_cbi_get_board_version_error;

	hook_notify(HOOK_INIT);
	zassert_equal(bb_controls[USBC_PORT_C0].retimer_rst_gpio,
		      GPIO_SIGNAL(DT_NODELABEL(gpio_usb_c0_hbr_rst_l)));
	zassert_equal(bb_controls[USBC_PORT_C1].retimer_rst_gpio,
		      GPIO_SIGNAL(DT_NODELABEL(gpio_usb_c1_hbr_rst_l)));
}

ZTEST_USER(usb_config, test_hbr_rst_runtime_config_ioex)
{
	cbi_get_board_version_fake.custom_fake = mock_cbi_get_board_version;

	board_version = 0;
	hook_notify(HOOK_INIT);
	zassert_equal(bb_controls[USBC_PORT_C0].retimer_rst_gpio,
		      GPIO_SIGNAL(DT_NODELABEL(ioex_usb_c0_rt_rst_ls_l)));
	zassert_equal(bb_controls[USBC_PORT_C1].retimer_rst_gpio,
		      GPIO_SIGNAL(DT_NODELABEL(ioex_usb_c1_rt_rst_ls_l)));
}

ZTEST_USER(usb_config, test_hbr_rst_runtime_config_gpio)
{
	cbi_get_board_version_fake.custom_fake = mock_cbi_get_board_version;

	board_version = 1;
	hook_notify(HOOK_INIT);
	zassert_equal(bb_controls[USBC_PORT_C0].retimer_rst_gpio,
		      GPIO_SIGNAL(DT_NODELABEL(gpio_usb_c0_hbr_rst_l)));
	zassert_equal(bb_controls[USBC_PORT_C1].retimer_rst_gpio,
		      GPIO_SIGNAL(DT_NODELABEL(gpio_usb_c1_hbr_rst_l)));
}

ZTEST_SUITE(usb_config, NULL, NULL, usb_config_before, usb_config_after, NULL);
```

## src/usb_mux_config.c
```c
/* Copyright 2023 The ChromiumOS Authors
 * Use of this source code is governed by a BSD-style license that can be
 * found in the LICENSE file.
 */

#include "cros_cbi.h"
#include "gpio.h"
#include "hooks.h"
#include "usb_mux.h"
#include "usb_mux_config.h"
#include "usbc/usb_muxes.h"

#include <zephyr/devicetree.h>
#include <zephyr/fff.h>
#include <zephyr/ztest.h>

FAKE_VALUE_FUNC(int, cros_cbi_get_fw_config, enum cbi_fw_config_field_id,
		uint32_t *);

int mock_cros_cbi_get_fw_config(enum cbi_fw_config_field_id field_id,
				uint32_t *value)
{
	*value = FW_USB_DB_USB3;
	return 0;
}

int mock_cros_cbi_get_fw_config_anx7452(enum cbi_fw_config_field_id field_id,
					uint32_t *value)
{
	*value = FW_USB_DB_USB4_ANX7452;
	return 0;
}

int mock_cros_cbi_get_fw_config_no_usb_db(enum cbi_fw_config_field_id field_id,
					  uint32_t *value)
{
	*value = FW_USB_DB_NOT_CONNECTED;
	return 0;
}

int mock_cros_cbi_get_fw_config_error(enum cbi_fw_config_field_id field_id,
				      uint32_t *value)
{
	return -1;
}

void gpio_pin_config_reset(const struct gpio_dt_spec *spec, int flags)
{
	gpio_pin_configure(spec->port, spec->pin, flags);
}

static void usb_mux_config_before(void *fixture)
{
	ARG_UNUSED(fixture);

	RESET_FAKE(cros_cbi_get_fw_config);
	gpio_pin_config_reset(GPIO_DT_FROM_NODELABEL(gpio_usb_c1_rt_rst_r_odl),
			      0);
}

ZTEST_USER(usb_mux_config, test_setup_usb_db)
{
	const struct gpio_dt_spec *spec =
		GPIO_DT_FROM_NODELABEL(gpio_usb_c1_rt_rst_r_odl);
	gpio_flags_t flags;

	cros_cbi_get_fw_config_fake.custom_fake = mock_cros_cbi_get_fw_config;

	gpio_pin_get_config_dt(spec, &flags);
	zassert_equal(0, flags);

	hook_notify(HOOK_INIT);

	gpio_pin_get_config_dt(spec, &flags);
	zassert_equal(GPIO_ACTIVE_LOW, flags);

	zassert_equal(1, cros_cbi_get_fw_config_fake.call_count);
	zassert_equal(1, usb_db_type);
}

ZTEST_USER(usb_mux_config, test_setup_usb_db_anx7452)
{
	const struct gpio_dt_spec *spec =
		GPIO_DT_FROM_NODELABEL(gpio_usb_c1_rt_rst_r_odl);
	gpio_flags_t flags;

	cros_cbi_get_fw_config_fake.custom_fake =
		mock_cros_cbi_get_fw_config_anx7452;

	gpio_pin_get_config_dt(spec, &flags);
	zassert_equal(0, flags);

	hook_notify(HOOK_INIT);

	gpio_pin_get_config_dt(spec, &flags);
	zassert_equal(GPIO_OUTPUT_LOW, flags);

	zassert_equal(1, cros_cbi_get_fw_config_fake.call_count);
	zassert_equal(3, usb_db_type);
}

ZTEST_USER(usb_mux_config, test_setup_usb_db_no_usb_db)
{
	const struct gpio_dt_spec *spec =
		GPIO_DT_FROM_NODELABEL(gpio_usb_c1_rt_rst_r_odl);
	gpio_flags_t flags;

	cros_cbi_get_fw_config_fake.custom_fake =
		mock_cros_cbi_get_fw_config_no_usb_db;

	gpio_pin_get_config_dt(spec, &flags);
	zassert_equal(0, flags);

	hook_notify(HOOK_INIT);

	gpio_pin_get_config_dt(spec, &flags);
	zassert_equal(0, flags);

	zassert_equal(1, cros_cbi_get_fw_config_fake.call_count);
	zassert_equal(0, usb_db_type);
}

ZTEST_USER(usb_mux_config, test_setup_usb_db_error_reading_cbi)
{
	const struct gpio_dt_spec *spec =
		GPIO_DT_FROM_NODELABEL(gpio_usb_c1_rt_rst_r_odl);
	gpio_flags_t flags;

	cros_cbi_get_fw_config_fake.custom_fake =
		mock_cros_cbi_get_fw_config_error;

	gpio_pin_get_config_dt(spec, &flags);
	zassert_equal(0, flags);

	hook_notify(HOOK_INIT);

	gpio_pin_get_config_dt(spec, &flags);
	zassert_equal(0, flags);

	zassert_equal(1, cros_cbi_get_fw_config_fake.call_count);
	zassert_equal(-1, usb_db_type);
}

ZTEST_SUITE(usb_mux_config, NULL, NULL, usb_mux_config_before, NULL, NULL);
```

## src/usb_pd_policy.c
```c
/* Copyright 2022 The ChromiumOS Authors
 * Use of this source code is governed by a BSD-style license that can be
 * found in the LICENSE file.
 */

#include "charge_manager.h"
#include "chipset.h"
#include "ec_commands.h"
#include "usb_charge.h"
#include "usb_pd.h"
#include "usbc_ppc.h"

#include <zephyr/drivers/gpio/gpio_emul.h>
#include <zephyr/fff.h>
#include <zephyr/ztest.h>

FAKE_VALUE_FUNC(int, chipset_in_state, int);
FAKE_VALUE_FUNC(int, ppc_vbus_source_enable, int, int);
FAKE_VOID_FUNC(pd_set_vbus_discharge, int, int);
FAKE_VOID_FUNC(pd_send_host_event, int);
FAKE_VALUE_FUNC(int, ppc_vbus_sink_enable, int, int);
FAKE_VALUE_FUNC(int, ppc_is_sourcing_vbus, int);

int ppc_vbus_source_enable_0_mock(int port, int enable)
{
	zassert_equal(0, pd_set_vbus_discharge_fake.call_count);
	zassert_equal(0, pd_send_host_event_fake.call_count);
	return (port == 0) && (enable == 0);
}

int ppc_vbus_source_enable_1_mock(int port, int enable)
{
	zassert_equal(1, enable, NULL);
	switch (port) {
	case 0:
		return EC_SUCCESS;
	case 3:
		return EC_ERROR_UNIMPLEMENTED;
	case 4:
		return EC_ERROR_INVAL;
	default:
		zassert_unreachable("Unknown port");
	}
	return -1;
}

void pd_set_vbus_discharge_enable_0_mock(int port, int enable)
{
	zassert_equal(0, port, NULL);
	zassert_equal(0, enable, NULL);
}

void pd_set_vbus_discharge_port_3_enable_0_mock(int port, int enable)
{
	zassert_equal(3, port, NULL);
	zassert_equal(0, enable, NULL);
}

void pd_set_vbus_discharge_port_4_enable_0_mock(int port, int enable)
{
	zassert_equal(4, port, NULL);
	zassert_equal(0, enable, NULL);
}

void pd_set_vbus_discharge_enable_1_mock(int port, int enable)
{
	zassert_equal(0, pd_send_host_event_fake.call_count);
	zassert_equal(0, port, NULL);
	zassert_equal(1, enable, NULL);
}

void pd_send_host_event_mock(int mask)
{
	zassert_equal(PD_EVENT_POWER_CHANGE, mask, NULL);
}

int ppc_is_sourcing_vbus_mock(int port)
{
	return port == 0;
}

int ppc_vbus_sink_enable_mock(int port, int enable)
{
	zassert_equal(0, enable, NULL);
	switch (port) {
	case 0:
	case 3:
	case 4:
		return EC_SUCCESS;
	case 1:
		return EC_ERROR_UNIMPLEMENTED;
	case 2:
		return EC_ERROR_INVAL;
	default:
		zassert_unreachable("Unknown port");
	}
	return -1;
}

static void usb_pd_policy_before(void *fixture)
{
	ARG_UNUSED(fixture);
	RESET_FAKE(chipset_in_state);
	RESET_FAKE(ppc_vbus_source_enable);
	RESET_FAKE(pd_set_vbus_discharge);
	RESET_FAKE(pd_send_host_event);
	RESET_FAKE(ppc_is_sourcing_vbus);
	RESET_FAKE(ppc_vbus_sink_enable);
}

ZTEST_USER(usb_pd_policy, test_pd_check_vconn_swap)
{
	const struct gpio_dt_spec *const en_z1_rails =
		GPIO_DT_FROM_NODELABEL(gpio_en_z1_rails);

	/* AP 5V rail is off. */
	zassert_false(gpio_pin_get_dt(en_z1_rails));
	zassert_false(pd_check_vconn_swap(0));
	zassert_false(pd_check_vconn_swap(1));

	/*
	* Case with the rail on is untestable because emulated GPIOs don't
	* allow getting the current value of output pins.
	*/
}

ZTEST_USER(usb_pd_policy, test_pd_power_supply_reset)
{
	ppc_vbus_source_enable_fake.custom_fake = ppc_vbus_source_enable_0_mock;
	pd_set_vbus_discharge_fake.custom_fake =
		pd_set_vbus_discharge_enable_1_mock;
	pd_send_host_event_fake.custom_fake = pd_send_host_event_mock;
	pd_power_supply_reset(0);
	zassert_equal(1, ppc_vbus_source_enable_fake.call_count);
	zassert_equal(1, pd_set_vbus_discharge_fake.call_count);
	zassert_equal(1, pd_send_host_event_fake.call_count);
}

ZTEST_USER(usb_pd_policy, test_pd_set_power_supply_ready_case_0)
{
	ppc_vbus_sink_enable_fake.custom_fake = ppc_vbus_sink_enable_mock;
	pd_set_vbus_discharge_fake.custom_fake =
		pd_set_vbus_discharge_enable_0_mock;
	ppc_vbus_source_enable_fake.custom_fake = ppc_vbus_source_enable_1_mock;
	pd_send_host_event_fake.custom_fake = pd_send_host_event_mock;
	zassert_equal(EC_SUCCESS, pd_set_power_supply_ready(0), NULL);
	zassert_equal(1, ppc_vbus_sink_enable_fake.call_count);
	zassert_equal(1, pd_set_vbus_discharge_fake.call_count);
	zassert_equal(1, ppc_vbus_source_enable_fake.call_count);
	zassert_equal(1, pd_send_host_event_fake.call_count);
}

ZTEST_USER(usb_pd_policy, test_pd_set_power_supply_ready_case_1)
{
	ppc_vbus_sink_enable_fake.custom_fake = ppc_vbus_sink_enable_mock;
	pd_set_vbus_discharge_fake.custom_fake =
		pd_set_vbus_discharge_enable_0_mock;
	ppc_vbus_source_enable_fake.custom_fake = ppc_vbus_source_enable_1_mock;
	pd_send_host_event_fake.custom_fake = pd_send_host_event_mock;
	zassert_equal(EC_ERROR_UNIMPLEMENTED, pd_set_power_supply_ready(1),
		      NULL);
	zassert_equal(1, ppc_vbus_sink_enable_fake.call_count);
	zassert_equal(0, pd_set_vbus_discharge_fake.call_count);
	zassert_equal(0, ppc_vbus_source_enable_fake.call_count);
	zassert_equal(0, pd_send_host_event_fake.call_count);
}

ZTEST_USER(usb_pd_policy, test_pd_set_power_supply_ready_case_2)
{
	ppc_vbus_sink_enable_fake.custom_fake = ppc_vbus_sink_enable_mock;
	pd_set_vbus_discharge_fake.custom_fake =
		pd_set_vbus_discharge_enable_0_mock;
	ppc_vbus_source_enable_fake.custom_fake = ppc_vbus_source_enable_1_mock;
	pd_send_host_event_fake.custom_fake = pd_send_host_event_mock;
	zassert_equal(EC_ERROR_INVAL, pd_set_power_supply_ready(2), NULL);
	zassert_equal(1, ppc_vbus_sink_enable_fake.call_count);
	zassert_equal(0, pd_set_vbus_discharge_fake.call_count);
	zassert_equal(0, ppc_vbus_source_enable_fake.call_count);
	zassert_equal(0, pd_send_host_event_fake.call_count);
}

ZTEST_USER(usb_pd_policy, test_pd_set_power_supply_ready_case_3)
{
	ppc_vbus_sink_enable_fake.custom_fake = ppc_vbus_sink_enable_mock;
	pd_set_vbus_discharge_fake.custom_fake =
		pd_set_vbus_discharge_port_3_enable_0_mock;
	ppc_vbus_source_enable_fake.custom_fake = ppc_vbus_source_enable_1_mock;
	pd_send_host_event_fake.custom_fake = pd_send_host_event_mock;
	zassert_equal(EC_ERROR_UNIMPLEMENTED, pd_set_power_supply_ready(3),
		      NULL);
	zassert_equal(1, ppc_vbus_sink_enable_fake.call_count);
	zassert_equal(1, pd_set_vbus_discharge_fake.call_count);
	zassert_equal(1, ppc_vbus_source_enable_fake.call_count);
	zassert_equal(0, pd_send_host_event_fake.call_count);
}

ZTEST_USER(usb_pd_policy, test_pd_set_power_supply_ready_case_4)
{
	ppc_vbus_sink_enable_fake.custom_fake = ppc_vbus_sink_enable_mock;
	pd_set_vbus_discharge_fake.custom_fake =
		pd_set_vbus_discharge_port_4_enable_0_mock;
	ppc_vbus_source_enable_fake.custom_fake = ppc_vbus_source_enable_1_mock;
	pd_send_host_event_fake.custom_fake = pd_send_host_event_mock;
	zassert_equal(EC_ERROR_INVAL, pd_set_power_supply_ready(4), NULL);
	zassert_equal(1, ppc_vbus_sink_enable_fake.call_count);
	zassert_equal(1, pd_set_vbus_discharge_fake.call_count);
	zassert_equal(1, ppc_vbus_source_enable_fake.call_count);
	zassert_equal(0, pd_send_host_event_fake.call_count);
}

ZTEST_USER(usb_pd_policy, test_board_vbus_source_enabled)
{
	ppc_is_sourcing_vbus_fake.custom_fake = ppc_is_sourcing_vbus_mock;
	zassert_true(board_vbus_source_enabled(0), NULL, NULL);
	zassert_equal(1, ppc_is_sourcing_vbus_fake.call_count);
}

ZTEST_USER(usb_pd_policy, test_board_is_sourcing_vbus)
{
	ppc_is_sourcing_vbus_fake.custom_fake = ppc_is_sourcing_vbus_mock;
	zassert_true(board_is_sourcing_vbus(0), NULL, NULL);
	zassert_equal(1, ppc_is_sourcing_vbus_fake.call_count);
}

ZTEST_SUITE(usb_pd_policy, NULL, NULL, usb_pd_policy_before, NULL, NULL);
```

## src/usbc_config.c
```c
/* Copyright 2022 The ChromiumOS Authors
 * Use of this source code is governed by a BSD-style license that can be
 * found in the LICENSE file.
 */

#include "hooks.h"

#include <zephyr/fff.h>
#include <zephyr/ztest.h>

static void usbc_config_before(void *fixture)
{
	ARG_UNUSED(fixture);
}

ZTEST_USER(usbc_config, test_usbc_interrupt_init)
{
//	power_signal_set.custom_fake = power_signal_set_mock;
//	power_signal_get.custom_fake = power_signal_get_mock;
	hook_notify(HOOK_PRIO_POST_I2C);
}

ZTEST_SUITE(usbc_config, NULL, NULL, usbc_config_before, NULL, NULL);
```
